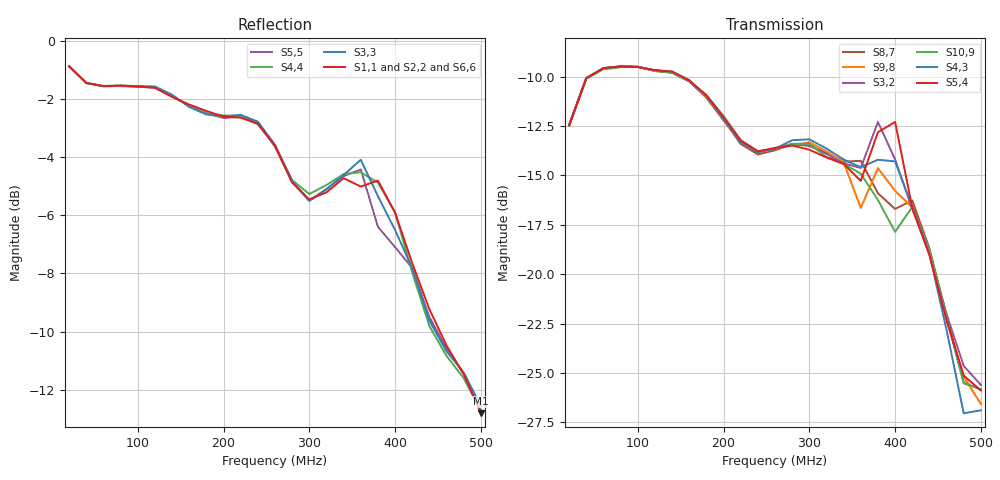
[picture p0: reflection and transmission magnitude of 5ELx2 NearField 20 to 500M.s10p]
! Touchstone file exported from HFSS 2019.3.0
!  File:  D:/5ELx2 NearField.aedt
!  Generated:  9:02:41 AM  Dec 09, 2019
!  Design:  HFSSDesign1
!  Project:  5ELx2 NearField
!  Setup:  20_to500M
!  Solution:  Disc
# GHZ S RI R 50.000000
! Modal data exported
! Port[1] = 1:1
! Port[2] = 2:1
! Port[3] = 3:1
! Port[4] = 4:1
! Port[5] = 5:1
! Port[6] = 6:1
! Port[7] = 7:1
! Port[8] = 8:1
! Port[9] = 9:1
! Port[10] = 10:1
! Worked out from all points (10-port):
!   25 points, 20 MHz to 500 MHz, reference 50 ohm
!   strongest paths, dB at 20 MHz, 140 MHz, 260 MHz, 380 MHz, 500 MHz:
!     S5,4: -12.5, -9.7, -13.6, -12.8, -25.9
!     S4,3: -12.4, -9.7, -13.6, -14.2, -26.9
!     S10,9: -12.5, -9.8, -13.7, -16.2, -25.8
!     S3,2: -12.5, -9.8, -13.7, -12.3, -25.6
!     S9,8: -12.5, -9.8, -13.7, -14.6, -26.6
!     S8,7: -12.5, -9.8, -13.7, -15.9, -25.8
!   lowest |S11| = -12.8 dB at 500 MHz (marker M1), VSWR 1.59, Z = 48.9 + j23.2 ohm
!   |S11| at or under -10 dB: 452.3 MHz to end of sweep
